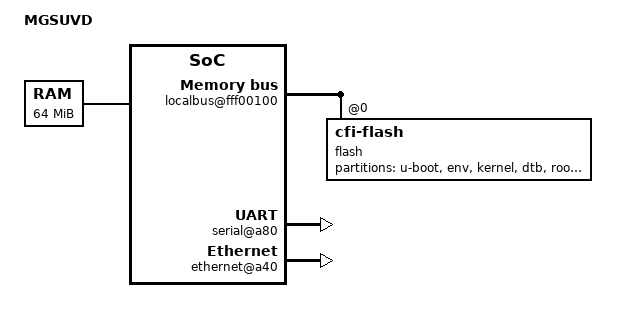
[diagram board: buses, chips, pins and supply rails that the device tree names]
/*
 * MGSUVD Device Tree Source
 *
 * Copyright 2008 DENX Software Engineering GmbH
 * Heiko Schocher <hs@denx.de>
 *
 * This program is free software; you can redistribute  it and/or modify it
 * under  the terms of  the GNU General  Public License as published by the
 * Free Software Foundation;  either version 2 of the  License, or (at your
 * option) any later version.
 */

/dts-v1/;
/ {
	model = "MGSUVD";
	compatible = "keymile,mgsuvd";
	#address-cells = <1>;
	#size-cells = <1>;

	cpus {
		#address-cells = <1>;
		#size-cells = <0>;

		PowerPC,852@0 {
			device_type = "cpu";
			reg = <0>;
			d-cache-line-size = <16>;
			i-cache-line-size = <16>;
			d-cache-size = <8192>;
			i-cache-size = <8192>;
			timebase-frequency = <0>;	/* Filled in by u-boot */
			bus-frequency = <0>;		/* Filled in by u-boot */
			clock-frequency = <0>;		/* Filled in by u-boot */
			interrupts = <15 2>;		/* decrementer interrupt */
			interrupt-parent = <&PIC>;
		};
	};

	memory {
		device_type = "memory";
		reg = <00000000 0x4000000>;  /* Filled in by u-boot */
	};

	localbus@fff00100 {
		compatible = "fsl,mpc852-localbus", "fsl,pq1-localbus", "simple-bus";
		#address-cells = <2>;
		#size-cells = <1>;
		reg = <0xfff00100 0x40>;

		ranges = <0 0 0xf0000000 0x01000000>;  /* Filled in by u-boot */

		flash@0,0 {
			compatible = "cfi-flash";
			reg = <0 0 0x1000000>;
			#address-cells = <1>;
			#size-cells = <1>;
			bank-width = <1>;
			device-width = <1>;
			partition@0 {
				label = "u-boot";
				reg = <0 0x80000>;
			};
			partition@80000 {
				label = "env";
				reg = <0x80000 0x20000>;
			};
			partition@a0000 {
				label = "kernel";
				reg = <0xa0000 0x1e0000>;
			};
			partition@280000 {
				label = "dtb";
				reg = <0x280000 0x20000>;
			};
			partition@2a0000 {
			        label = "root";
			        reg = <0x2a0000 0x500000>;
			};
			partition@7a0000 {
			        label = "user";
			        reg = <0x7a0000 0x860000>;
			};
		};
	};

	soc@fff00000 {
		compatible = "fsl,mpc852", "fsl,pq1-soc", "simple-bus";
		#address-cells = <1>;
		#size-cells = <1>;
		device_type = "soc";
		ranges = <0 0xfff00000 0x00004000>;

		PIC: interrupt-controller@0 {
			interrupt-controller;
			#interrupt-cells = <2>;
			reg = <0 24>;
			compatible = "fsl,mpc852-pic", "fsl,pq1-pic";
		};

		cpm@9c0 {
			#address-cells = <1>;
			#size-cells = <1>;
			compatible = "fsl,mpc852-cpm", "fsl,cpm1", "simple-bus";
			interrupts = <0>;	/* cpm error interrupt */
			interrupt-parent = <&CPM_PIC>;
			reg = <0x9c0 10>;
			ranges;

			muram@2000 {
				compatible = "fsl,cpm-muram";
				#address-cells = <1>;
				#size-cells = <1>;
				ranges = <0 0x2000 0x2000>;

				data@0 {
					compatible = "fsl,cpm-muram-data";
					reg = <0x800 0x1800>;
				};
			};

			brg@9f0 {
				compatible = "fsl,mpc852-brg",
				             "fsl,cpm1-brg",
				             "fsl,cpm-brg";
				reg = <0x9f0 0x10>;
				clock-frequency = <0>; /* Filled in by u-boot */
			};

			CPM_PIC: interrupt-controller@930 {
				interrupt-controller;
				#interrupt-cells = <1>;
				interrupts = <5 2 0 2>;
				interrupt-parent = <&PIC>;
				reg = <0x930 0x20>;
				compatible = "fsl,cpm1-pic";
			};

			/* MON-1 */
			serial@a80 {
				device_type = "serial";
				compatible = "fsl,cpm1-smc-uart";
				reg = <0xa80 0x10 0x3fc0 0x40>;
				interrupts = <4>;
				interrupt-parent = <&CPM_PIC>;
				fsl,cpm-brg = <1>;
				fsl,cpm-command = <0x0090>;
				current-speed = <0>; /* Filled in by u-boot */
			};

			ethernet@a40 {
				device_type = "network";
				compatible  = "fsl,mpc866-scc-enet",
				              "fsl,cpm1-scc-enet";
				reg = <0xa40 0x18 0x3e00 0x100>;
				local-mac-address = [ 00 00 00 00 00 00 ];  /* Filled in by u-boot */
				interrupts = <28>;
				interrupt-parent = <&CPM_PIC>;
				fsl,cpm-command = <0x80>;
				fixed-link = <0 0 10 0 0>;
			};
		};
	};
};
